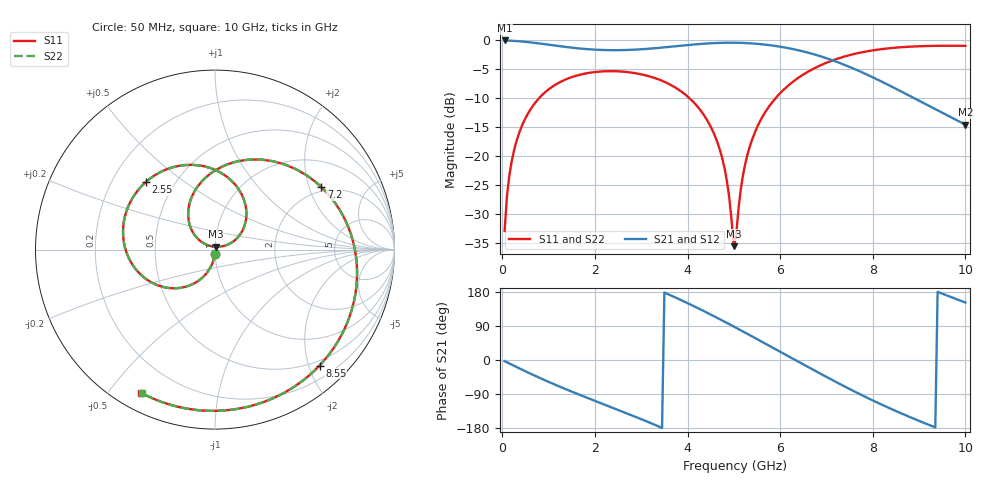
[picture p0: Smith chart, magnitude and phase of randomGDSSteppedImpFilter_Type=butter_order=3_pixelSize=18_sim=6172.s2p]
! freq	dB(S11)	phase(S11)	dB(S12)	phase(S12)
!  dB(S21)	phase(S21)	dB(S22)	phase(S22)
!S-par simulation data
#  GHz  S  DB  R 50
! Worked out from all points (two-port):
!   200 points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, 50 MHz to 10 GHz, reference 50 ohm
!   highest |S21| = 0.00 dB at 50 MHz (marker M1); lowest = -14.6 dB at 10 GHz (marker M2)
!   |S21| within 3 dB of the highest: start of sweep to 6.974 GHz
!   lowest |S11| = -35.6 dB at 5 GHz (marker M3), VSWR 1.03, Z = 50.6 + j1.56 ohm
!   |S11| at or under -10 dB: start of sweep to 793.7 MHz; 4.042 GHz to 5.9 GHz (1.858 GHz wide, 37.4 % of centre)
!   |S22| runs from -35.5 to -0.9 dB; largest |S21 - S12| = 0
!   S11 on the Smith chart (normalised r, x): 50 MHz: 1.00, -0.04; 2.55 GHz: 0.34, +0.37; 7.2 GHz: 1.83, +2.42; 8.55 GHz: 0.41, -2.18; 10 GHz: 0.07, -0.61
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0.05  -32.99 -93.0  -0.00 -3.1  -0.00 -3.1  -32.99 -93.0
0.2  -21.04 -102.4  -0.05 -12.1  -0.05 -12.1  -21.04 -102.4
0.5  -13.46 -120.3  -0.24 -29.8  -0.24 -29.8  -13.46 -120.3
1.1  -7.90 -153.6  -0.85 -63.1  -0.85 -63.1  -7.90 -153.6
1.75  -5.80 173.7  -1.46 -95.7  -1.46 -95.7  -5.80 173.8
2.55  -5.37 135.7  -1.68 -134.0  -1.68 -134.0  -5.37 135.7
3.4  -6.82 93.5  -1.27 -176.6  -1.27 -176.6  -6.82 93.6
4  -9.69 61.2  -0.80 150.1  -0.80 150.1  -9.70 61.3
4.55  -15.76 31.0  -0.47 116.9  -0.47 116.9  -15.76 31.2
4.85  -24.30 21.5  -0.40 97.9  -0.40 97.9  -24.30 21.9
5  -35.61 68.5  -0.39 88.2  -0.39 88.2  -35.52 68.9
5.05  -33.79 122.4  -0.40 84.9  -0.40 84.9  -33.73 122.2
5.2  -23.21 150.6  -0.43 75.1  -0.43 75.1  -23.21 150.6
5.5  -15.06 139.0  -0.58 55.3  -0.58 55.3  -15.06 139.1
6.1  -8.34 101.8  -1.22 15.1  -1.22 15.1  -8.34 102.0
6.7  -4.98 62.7  -2.33 -25.0  -2.33 -25.0  -4.98 62.9
7.2  -3.26 30.6  -3.64 -57.6  -3.64 -57.6  -3.27 30.8
7.8  -2.00 -6.2  -5.64 -94.9  -5.64 -94.9  -2.00 -5.9
8.35  -1.36 -37.3  -7.76 -126.6  -7.76 -126.6  -1.36 -36.9
8.55  -1.21 -47.9  -8.57 -137.4  -8.57 -137.4  -1.21 -47.6
9.25  -0.95 -82.8  -11.48 -173.0  -11.48 -173.0  -0.95 -82.4
10  -0.94 -117.3  -14.58 151.7  -14.58 151.7  -0.94 -116.8
